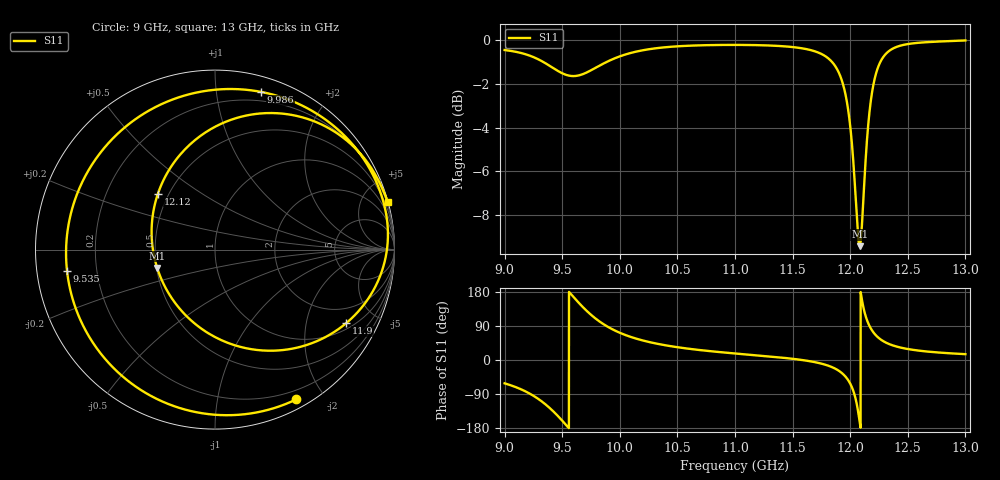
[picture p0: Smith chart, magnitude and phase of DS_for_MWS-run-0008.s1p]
! TOUCHSTONE file generated by CST DESIGN STUDIO
! Date and time: Tue Feb  4 14:27:50 2025
! Project name: C:\Work\MatlabApps\UnitCellOptimizationMatlab\CST\unitcell.cst
! Tree item: Tasks\Sweep1\SPara1\S-Parameters
! Header version: 2024
! Port assignment regex: !\s*Touchstone port\s*([0-9]+)\s*=\s*(CST MWS port|CST DES external port|CST DES block port)\s*(.+)\s* \(\"(.*)\"\)(\s*mode\s*([0-9]+))?.*
! Touchstone port assignment:
! Touchstone port 1 = CST DES external port 1 ("")
# GHz S MA R 50
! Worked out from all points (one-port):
!   4001 points, 9 GHz to 13 GHz, reference 50 ohm
!   lowest |S11| = -9.4 dB at 12.08 GHz (marker M1), VSWR 2.02, Z = 25.2 - j5.84 ohm
!   |S11| at or under -10 dB: nowhere
!   S11 on the Smith chart (normalised r, x): 9 GHz: 0.10, -1.67; 9.535 GHz: 0.09, -0.07; 9.986 GHz: 0.12, +1.33; 11.9 GHz: 1.24, -3.42; 12.12 GHz: 0.44, +0.34; 13 GHz: 0.04, +7.40
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9  0.9494 -61.6
9.15  0.9336 -78.3
9.299  0.9022 -104.1
9.399  0.8709 -128.8
9.5  0.8401 -160.0
9.535  0.8329 -171.9
9.628  0.829 156.1
9.748  0.8527 119.9
9.852  0.8824 95.8
9.986  0.9154 73.7
10  0.9182 71.8
10.216  0.9499 50.3
10.5  0.9681 33.8
11  0.9753 17.2
11.5  0.9643 3.2
11.767  0.9249 -10.9
11.905  0.8385 -29.2
11.956  0.7581 -42.8
12  0.6364 -62.3
12.042  0.46 -96.4
12.082  0.338 -162.3
12.117  0.4453 135.6
12.159  0.6511 95.3
12.208  0.8064 70.4
12.259  0.8887 55.4
12.319  0.9358 44.6
12.5  0.9796 29.0
13  0.9984 15.4
